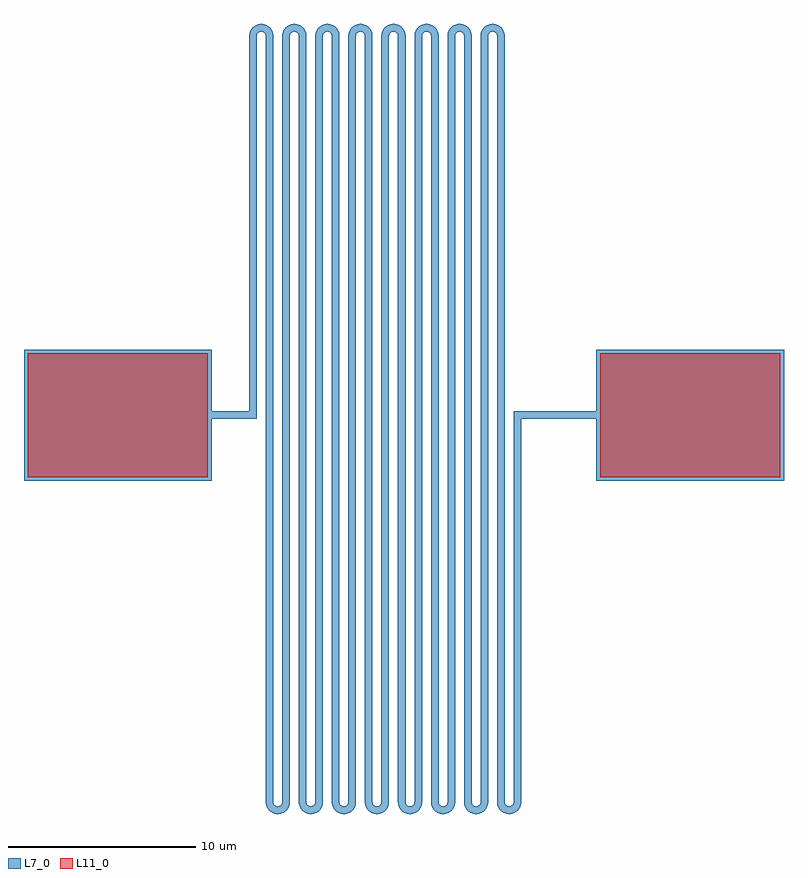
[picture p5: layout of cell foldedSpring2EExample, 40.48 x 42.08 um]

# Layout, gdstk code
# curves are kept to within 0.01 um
import gdstk
lib = gdstk.Library(unit=1e-6, precision=1e-09)
def R(c, l, rs):  # rectangles x0, y0, x1, y1
    for r in rs: c.add(gdstk.rectangle(r[:2], r[2:], *l))
def P(c, l, *ps):  # polygons
    for p in ps: c.add(gdstk.Polygon(p, *l))
L7_0 = (7, 0)
L11_0 = (11, 0)

foldedspring2eexample = lib.new_cell('foldedSpring2EExample')
P(foldedspring2eexample, L7_0, [(0,0),(0,3.3),(12.4,3.3),(10,3.3),(10,0)],
  [(13.52,-17.74),(13.304,-17.703),(13.164,-17.632),(13.067,-17.553),(12.988,-17.456),(12.917,-17.316),(12.88,-17.1),(12.88,3.3),(13.28,3.3),(13.28,-17.112),(13.298,-17.192),(13.35,-17.27),(13.428,-17.322),(13.508,-17.34),(13.612,-17.322),(13.69,-17.27),(13.742,-17.192),(13.76,-17.112),(13.76,3.3),(14.16,3.3),(14.16,-17.1),(14.123,-17.316),(14.052,-17.456),(13.973,-17.553),(13.876,-17.632),(13.736,-17.703)],
  [(15.28,-17.74),(15.064,-17.703),(14.924,-17.632),(14.827,-17.553),(14.748,-17.456),(14.677,-17.316),(14.64,-17.1),(14.64,3.3),(15.04,3.3),(15.04,-17.112),(15.058,-17.192),(15.11,-17.27),(15.188,-17.322),(15.268,-17.34),(15.372,-17.322),(15.45,-17.27),(15.502,-17.192),(15.52,-17.112),(15.52,3.3),(15.92,3.3),(15.92,-17.1),(15.883,-17.316),(15.812,-17.456),(15.733,-17.553),(15.636,-17.632),(15.496,-17.703)],
  [(17.04,-17.74),(16.824,-17.703),(16.684,-17.632),(16.587,-17.553),(16.508,-17.456),(16.437,-17.316),(16.4,-17.1),(16.4,3.3),(16.8,3.3),(16.8,-17.112),(16.818,-17.192),(16.87,-17.27),(16.948,-17.322),(17.028,-17.34),(17.132,-17.322),(17.21,-17.27),(17.262,-17.192),(17.28,-17.112),(17.28,3.3),(17.68,3.3),(17.68,-17.1),(17.643,-17.316),(17.572,-17.456),(17.493,-17.553),(17.396,-17.632),(17.256,-17.703)],
  [(18.8,-17.74),(18.584,-17.703),(18.444,-17.632),(18.347,-17.553),(18.268,-17.456),(18.197,-17.316),(18.16,-17.1),(18.16,3.3),(18.56,3.3),(18.56,-17.112),(18.578,-17.192),(18.63,-17.27),(18.708,-17.322),(18.788,-17.34),(18.892,-17.322),(18.97,-17.27),(19.022,-17.192),(19.04,-17.112),(19.04,3.3),(19.44,3.3),(19.44,-17.1),(19.403,-17.316),(19.332,-17.456),(19.253,-17.553),(19.156,-17.632),(19.016,-17.703)],
  [(20.24,-17.654),(20.107,-17.553),(20.011,-17.429),(19.939,-17.256),(19.92,-17.1),(19.92,3.3),(20.24,3.3)],
  [(20.56,-17.74),(20.404,-17.721),(20.24,-17.654),(20.24,3.3),(20.32,3.3),(20.32,-17.112),(20.338,-17.192),(20.39,-17.27),(20.468,-17.322),(20.548,-17.34),(20.652,-17.322),(20.73,-17.27),(20.782,-17.192),(20.8,-17.112),(20.8,3.3),(21.2,3.3),(21.2,-17.1),(21.163,-17.316),(21.092,-17.456),(21.013,-17.553),(20.916,-17.632),(20.776,-17.703)],
  [(22.32,-17.74),(22.104,-17.703),(21.964,-17.632),(21.867,-17.553),(21.788,-17.456),(21.717,-17.316),(21.68,-17.1),(21.68,3.3),(22.08,3.3),(22.08,-17.112),(22.098,-17.192),(22.15,-17.27),(22.228,-17.322),(22.308,-17.34),(22.412,-17.322),(22.49,-17.27),(22.542,-17.192),(22.56,-17.112),(22.56,3.3),(22.96,3.3),(22.96,-17.1),(22.923,-17.316),(22.852,-17.456),(22.773,-17.553),(22.676,-17.632),(22.536,-17.703)],
  [(24.08,-17.74),(23.864,-17.703),(23.724,-17.632),(23.627,-17.553),(23.548,-17.456),(23.477,-17.316),(23.44,-17.1),(23.44,3.3),(23.84,3.3),(23.84,-17.112),(23.858,-17.192),(23.91,-17.27),(23.988,-17.322),(24.068,-17.34),(24.172,-17.322),(24.25,-17.27),(24.302,-17.192),(24.32,-17.112),(24.32,3.3),(24.72,3.3),(24.72,-17.1),(24.683,-17.316),(24.612,-17.456),(24.533,-17.553),(24.436,-17.632),(24.296,-17.703)],
  [(25.84,-17.74),(25.624,-17.703),(25.484,-17.632),(25.387,-17.553),(25.308,-17.456),(25.237,-17.316),(25.2,-17.1),(25.2,3.3),(25.6,3.3),(25.6,-17.112),(25.618,-17.192),(25.67,-17.27),(25.748,-17.322),(25.828,-17.34),(25.932,-17.322),(26.01,-17.27),(26.062,-17.192),(26.08,-17.112),(26.08,3.3),(40.48,3.3),(40.48,0),(30.48,0),(30.48,3.3),(26.48,3.3),(26.48,-17.1),(26.443,-17.316),(26.372,-17.456),(26.293,-17.553),(26.196,-17.632),(26.056,-17.703)],
  [(0,3.3),(0,7),(10,7),(10,3.7),(12,3.7),(12.001,23.731),(12.037,23.916),(12.108,24.056),(12.234,24.195),(12.366,24.279),(12.515,24.328),(12.671,24.339),(12.856,24.303),(12.969,24.249),(13.093,24.153),(13.189,24.029),(13.261,23.856),(13.28,23.7),(13.28,3.3),(12.88,3.3),(12.88,23.712),(12.862,23.792),(12.81,23.87),(12.732,23.922),(12.652,23.94),(12.548,23.922),(12.47,23.87),(12.418,23.792),(12.4,23.712),(12.4,3.3)],
  [(13.76,3.3),(13.76,23.7),(13.797,23.916),(13.868,24.056),(13.947,24.153),(14.044,24.232),(14.184,24.303),(14.4,24.34),(14.616,24.303),(14.756,24.232),(14.853,24.153),(14.932,24.056),(15.003,23.916),(15.04,23.7),(15.04,3.3),(14.64,3.3),(14.64,23.712),(14.622,23.792),(14.57,23.87),(14.492,23.922),(14.412,23.94),(14.308,23.922),(14.23,23.87),(14.178,23.792),(14.16,23.712),(14.16,3.3)],
  [(15.52,3.3),(15.52,23.7),(15.557,23.916),(15.628,24.056),(15.707,24.153),(15.804,24.232),(15.944,24.303),(16.16,24.34),(16.376,24.303),(16.516,24.232),(16.613,24.153),(16.692,24.056),(16.763,23.916),(16.8,23.7),(16.8,3.3),(16.4,3.3),(16.4,23.712),(16.382,23.792),(16.33,23.87),(16.252,23.922),(16.172,23.94),(16.068,23.922),(15.99,23.87),(15.938,23.792),(15.92,23.712),(15.92,3.3)],
  [(17.28,3.3),(17.28,23.7),(17.317,23.916),(17.388,24.056),(17.467,24.153),(17.564,24.232),(17.704,24.303),(17.92,24.34),(18.136,24.303),(18.276,24.232),(18.373,24.153),(18.452,24.056),(18.523,23.916),(18.56,23.7),(18.56,3.3),(18.16,3.3),(18.16,23.712),(18.142,23.792),(18.09,23.87),(18.012,23.922),(17.932,23.94),(17.828,23.922),(17.75,23.87),(17.698,23.792),(17.68,23.712),(17.68,3.3)],
  [(19.04,3.3),(19.04,23.7),(19.077,23.916),(19.148,24.056),(19.227,24.153),(19.324,24.232),(19.464,24.303),(19.68,24.34),(19.836,24.321),(20.009,24.249),(20.133,24.153),(20.24,24.01),(20.24,3.3),(19.92,3.3),(19.92,23.712),(19.902,23.792),(19.85,23.87),(19.772,23.922),(19.692,23.94),(19.588,23.922),(19.51,23.87),(19.458,23.792),(19.44,23.712),(19.44,3.3)],
  [(26.08,3.3),(26.08,3.7),(30.48,3.7),(30.48,7),(40.48,7),(40.48,3.3)],
  [(20.24,3.3),(20.24,24.01),(20.244,24.002),(20.259,23.974),(20.283,23.916),(20.301,23.856),(20.308,23.825),(20.313,23.794),(20.317,23.763),(20.319,23.731),(20.32,23.7),(20.32,3.3)],
  [(20.8,3.3),(20.8,23.7),(20.837,23.916),(20.908,24.056),(20.987,24.153),(21.084,24.232),(21.224,24.303),(21.44,24.34),(21.656,24.303),(21.796,24.232),(21.893,24.153),(21.972,24.056),(22.043,23.916),(22.08,23.7),(22.08,3.3),(21.68,3.3),(21.68,23.712),(21.662,23.792),(21.61,23.87),(21.532,23.922),(21.452,23.94),(21.348,23.922),(21.27,23.87),(21.218,23.792),(21.2,23.712),(21.2,3.3)],
  [(22.56,3.3),(22.56,23.7),(22.597,23.916),(22.668,24.056),(22.747,24.153),(22.844,24.232),(22.984,24.303),(23.2,24.34),(23.416,24.303),(23.556,24.232),(23.653,24.153),(23.732,24.056),(23.803,23.916),(23.84,23.7),(23.84,3.3),(23.44,3.3),(23.44,23.712),(23.422,23.792),(23.37,23.87),(23.292,23.922),(23.212,23.94),(23.108,23.922),(23.03,23.87),(22.978,23.792),(22.96,23.712),(22.96,3.3)],
  [(24.32,3.3),(24.32,23.7),(24.357,23.916),(24.428,24.056),(24.507,24.153),(24.604,24.232),(24.744,24.303),(24.96,24.34),(25.176,24.303),(25.316,24.232),(25.413,24.153),(25.492,24.056),(25.563,23.916),(25.6,23.7),(25.6,3.3),(25.2,3.3),(25.2,23.712),(25.182,23.792),(25.13,23.87),(25.052,23.922),(24.972,23.94),(24.868,23.922),(24.79,23.87),(24.738,23.792),(24.72,23.712),(24.72,3.3)])
R(foldedspring2eexample, L11_0, [(0.2,0.2,9.8,6.8), (30.68,0.2,40.28,6.8)])

lib.write_gds('foldedSpring2EExample.gds')
